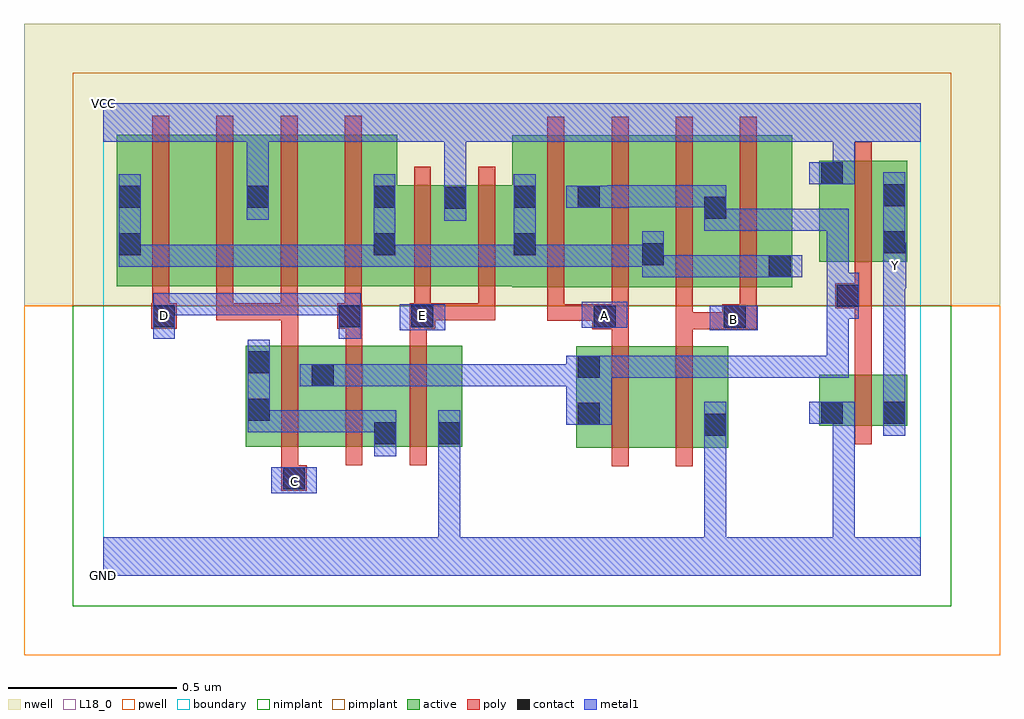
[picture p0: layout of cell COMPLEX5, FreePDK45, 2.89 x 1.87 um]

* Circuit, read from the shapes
.subckt COMPLEX5 A B C D E GND VCC Y
M1 n1 C n2 VSUBS nfet w=0.3u l=0.05u
M2 n2 D n1 VSUBS nfet w=0.3u l=0.05u
M3 GND E n2 VSUBS nfet w=0.3u l=0.05u
M4 n3 A n1 VSUBS nfet w=0.3u l=0.05u
M5 GND B n3 VSUBS nfet w=0.3u l=0.05u
M6 Y n1 GND VSUBS nfet w=0.15u l=0.05u
M7 n4 D n5 n6 pfet w=0.45u l=0.05u
M8 VCC C n4 n6 pfet w=0.45u l=0.05u
M9 n7 C VCC n6 pfet w=0.45u l=0.05u
M10 n5 D n7 n6 pfet w=0.45u l=0.05u
M11 VCC E n5 n6 pfet w=0.3u l=0.05u m=2
M12 n1 A n5 n6 pfet w=0.45u l=0.05u m=2
M13 n1 B n5 n6 pfet w=0.45u l=0.05u m=2
M14 Y n1 VCC n6 pfet w=0.3u l=0.05u
.ends

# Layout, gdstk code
import gdstk
lib = gdstk.Library(unit=1e-6, precision=1e-09)
def R(c, l, rs):  # rectangles x0, y0, x1, y1
    for r in rs: c.add(gdstk.rectangle(r[:2], r[2:], *l))
def A(c, l, x, y, w, h, nx, ny, dx, dy):  # array of equal rectangles
    R(c, l, [(x+i*dx, y+j*dy, x+i*dx+w, y+j*dy+h) for i in range(nx) for j in range(ny)])
active = (1, 0)
pwell = (2, 0)
nwell = (3, 0)
nimplant = (4, 0)
pimplant = (5, 0)
poly = (9, 0)
contact = (10, 0)
metal1 = (11, 0)
L18_0 = (18, 0)
boundary = (235, 0)

complex5 = lib.new_cell('COMPLEX5')
R(complex5, active, [(1.4,0.38,1.625,0.68), (1.625,0.38,1.85,0.68), (0.422,0.382,0.687,0.682), (0.612,0.382,0.872,0.682), (0.797,0.382,1.062,0.682), (0.797,0.382,0.872,0.547), (0.987,0.382,1.062,0.682), (1.4,0.382,1.475,0.68), (0.422,0.407,0.497,0.682), (1.775,0.407,1.85,0.547), (0.612,0.445,0.687,0.632), (2.12,0.445,2.195,0.595), (2.12,0.445,2.38,0.595), (2.305,0.445,2.38,0.595), (1.21,0.855,1.475,1.305), (1.4,0.855,1.665,1.305), (1.59,0.855,1.85,1.305), (1.775,0.855,2.04,1.305), (1.965,0.855,2.04,1.047), (0.04,0.857,0.265,1.307), (0.04,0.857,0.145,1.2), (0.265,0.857,0.495,1.307), (0.42,0.857,0.645,1.307), (0.42,0.857,0.495,1.305), (0.645,0.857,0.87,1.307), (0.795,0.857,0.87,1.2), (0.795,0.857,1.08,1.157), (1.005,0.857,1.285,1.157), (1.21,0.857,1.285,1.2), (1.4,0.857,1.475,1.2), (1.59,0.857,1.665,1.07), (1.775,0.857,1.85,1.2), (2.12,0.93,2.38,1.23), (2.305,0.93,2.38,1.19), (1.005,1.007,1.08,1.157), (2.12,1.007,2.195,1.23)])
R(complex5, pwell, [(-0.235,-0.235,2.655,0.8)])
R(complex5, nwell, [(-0.235,0.8,2.655,1.635)])
R(complex5, nimplant, [(-0.09,-0.09,2.51,0.8)])
R(complex5, pimplant, [(-0.09,0.8,2.51,1.49)])
A(complex5, poly, 0.527, 0.327, 0.05, 0.41, 3, 1, 0.19, 0)
A(complex5, poly, 0.145, 0.757, 0.05, 0.095, 4, 1, 0.19, 0)
A(complex5, poly, 1.315, 0.8, 0.05, 0.56, 4, 1, 0.19, 0)
A(complex5, poly, 0.145, 0.802, 0.05, 0.56, 4, 1, 0.19, 0)
R(complex5, poly, [(0.527,0.252,0.602,0.327), (0.527,0.277,0.577,0.377), (1.505,0.325,1.555,0.735), (1.695,0.325,1.745,0.735), (2.225,0.39,2.275,0.65), (2.225,0.6,2.275,0.842), (1.505,0.685,1.555,0.78), (1.695,0.685,1.745,0.78), (0.527,0.687,0.577,0.807), (0.717,0.687,0.767,0.782), (0.907,0.687,0.957,0.782), (1.447,0.73,1.555,0.805), (1.695,0.73,1.882,0.78), (1.695,0.73,1.745,0.78), (1.695,0.73,1.745,0.78), (1.695,0.73,1.745,0.78), (1.695,0.73,1.745,0.85), (1.832,0.73,1.935,0.805), (0.142,0.732,0.217,0.807), (0.692,0.732,0.767,0.807), (0.907,0.732,0.982,0.807), (1.315,0.755,1.365,0.85), (1.315,0.755,1.365,0.805), (1.315,0.755,1.365,0.805), (1.315,0.755,1.365,0.805), (1.315,0.755,1.497,0.805), (1.505,0.755,1.555,0.85), (1.885,0.755,1.935,0.85), (0.335,0.757,0.385,0.807), (0.335,0.757,0.385,0.807), (0.335,0.757,0.385,0.807), (0.335,0.757,0.575,0.807), (0.525,0.757,0.577,0.807), (0.92,0.757,0.97,0.852), (0.932,0.757,0.982,0.807), (0.932,0.757,0.982,0.807), (0.932,0.757,1.16,0.807), (1.11,0.757,1.16,0.852), (1.11,0.757,1.16,0.807), (2.167,0.792,2.275,0.867), (0.92,0.802,0.97,1.212), (1.11,0.802,1.16,1.212), (2.225,0.817,2.275,0.925), (2.225,0.875,2.275,1.285)])
R(complex5, contact, [(0.532,0.257,0.597,0.322), (0.802,0.39,0.867,0.455), (0.992,0.39,1.057,0.455), (1.78,0.415,1.845,0.48), (1.405,0.447,1.47,0.512), (2.125,0.45,2.19,0.515), (2.31,0.45,2.375,0.515), (0.427,0.46,0.492,0.525), (0.617,0.562,0.682,0.627), (1.405,0.587,1.47,0.652), (0.427,0.6,0.492,0.665), (1.452,0.735,1.517,0.8), (1.837,0.735,1.902,0.8), (0.147,0.737,0.212,0.802), (0.697,0.737,0.762,0.802), (0.912,0.737,0.977,0.802), (2.172,0.797,2.237,0.862), (1.97,0.885,2.035,0.95), (1.595,0.92,1.66,0.985), (0.045,0.95,0.11,1.015), (0.8,0.95,0.865,1.015), (1.215,0.95,1.28,1.015), (2.31,0.955,2.375,1.02), (1.78,1.057,1.845,1.122), (1.01,1.087,1.075,1.152), (0.045,1.09,0.11,1.155), (0.425,1.09,0.49,1.155), (0.8,1.09,0.865,1.155), (1.215,1.09,1.28,1.155), (1.405,1.09,1.47,1.155), (2.31,1.095,2.375,1.16), (2.125,1.16,2.19,1.225)])
R(complex5, metal1, [(0,0,2.42,0.115), (0.992,0.05,1.057,0.115), (0.992,0.05,1.057,0.115), (0.992,0.05,1.057,0.115), (0.992,0.05,1.057,0.115), (0.992,0.05,1.057,0.115), (0.992,0.05,1.057,0.115), (0.992,0.05,1.057,0.42), (1.78,0.05,1.845,0.115), (1.78,0.05,1.845,0.115), (1.78,0.05,1.845,0.445), (2.16,0.05,2.225,0.515), (0.497,0.245,0.632,0.322), (0.802,0.355,0.867,0.49), (0.992,0.355,1.057,0.49), (1.78,0.38,1.845,0.445), (1.78,0.38,1.845,0.445), (1.78,0.38,1.845,0.445), (1.78,0.38,1.845,0.445), (1.78,0.38,1.845,0.515), (2.31,0.415,2.375,0.55), (0.427,0.425,0.492,0.7), (0.427,0.425,0.522,0.49), (0.457,0.425,0.522,0.49), (0.457,0.425,0.727,0.49), (0.662,0.425,0.727,0.49), (0.662,0.425,0.727,0.49), (0.662,0.425,0.727,0.49), (0.662,0.425,0.867,0.49), (1.37,0.447,1.505,0.652), (2.09,0.45,2.225,0.515), (2.16,0.45,2.225,0.515), (2.16,0.45,2.225,0.515), (2.16,0.45,2.225,0.515), (2.16,0.45,2.225,0.515), (2.16,0.45,2.225,0.515), (2.16,0.45,2.225,0.515), (2.16,0.45,2.225,0.515), (2.16,0.45,2.225,0.515), (2.31,0.485,2.375,0.917), (0.582,0.562,0.717,0.627), (0.652,0.562,0.717,0.627), (0.652,0.562,0.717,0.627), (0.652,0.562,0.865,0.627), (0.8,0.562,0.865,0.627), (0.8,0.562,0.865,0.627), (0.8,0.562,0.865,0.627), (0.8,0.562,1.005,0.627), (0.94,0.562,1.005,0.627), (0.94,0.562,1.005,0.627), (0.94,0.562,1.005,0.627), (0.94,0.562,1.142,0.627), (1.077,0.562,1.142,0.627), (1.077,0.562,1.345,0.627), (1.28,0.562,1.345,0.627), (1.28,0.562,1.435,0.627), (1.44,0.587,1.505,0.652), (1.44,0.587,1.505,0.652), (1.44,0.587,1.642,0.652), (1.577,0.587,1.642,0.652), (1.577,0.587,1.695,0.652), (1.63,0.587,1.695,0.652), (1.63,0.587,1.845,0.652), (1.78,0.587,1.845,0.652), (1.78,0.587,2.017,0.652), (1.952,0.587,2.017,0.652), (1.952,0.587,2.087,0.652), (2.022,0.587,2.087,0.652), (2.022,0.587,2.207,0.652), (2.142,0.587,2.207,0.652), (2.142,0.587,2.207,0.85), (0.147,0.702,0.212,0.837), (0.697,0.702,0.762,0.837), (0.877,0.727,1.012,0.805), (1.795,0.727,1.937,0.8), (1.417,0.735,1.552,0.812), (2.172,0.762,2.237,0.897), (0.147,0.772,0.247,0.837), (0.182,0.772,0.247,0.837), (0.182,0.772,0.385,0.837), (0.32,0.772,0.385,0.837), (0.32,0.772,0.385,0.837), (0.32,0.772,0.385,0.837), (0.32,0.772,0.522,0.837), (0.457,0.772,0.522,0.837), (0.457,0.772,0.63,0.837), (0.565,0.772,0.63,0.837), (0.565,0.772,0.762,0.837), (2.142,0.785,2.207,0.85), (2.142,0.785,2.207,0.85), (2.142,0.785,2.207,0.85), (2.142,0.785,2.237,0.85), (2.142,0.785,2.207,1.087), (2.31,0.852,2.377,0.987), (1.595,0.885,1.66,1.02), (1.595,0.885,1.707,0.95), (1.642,0.885,1.707,0.95), (1.642,0.885,1.845,0.95), (1.78,0.885,1.845,0.95), (1.78,0.885,2,0.95), (1.935,0.885,2,0.95), (1.935,0.885,2,0.95), (1.935,0.885,2.07,0.95), (0.045,0.915,0.11,0.98), (0.045,0.915,0.11,0.98), (0.045,0.915,0.11,1.19), (0.045,0.915,0.247,0.98), (0.182,0.915,0.247,0.98), (0.182,0.915,0.385,0.98), (0.32,0.915,0.385,0.98), (0.32,0.915,0.385,0.98), (0.32,0.915,0.385,0.98), (0.32,0.915,0.522,0.98), (0.457,0.915,0.522,0.98), (0.457,0.915,0.66,0.98), (0.595,0.915,0.66,0.98), (0.595,0.915,0.66,0.98), (0.595,0.915,0.66,0.98), (0.595,0.915,0.865,0.98), (0.8,0.915,0.865,1.19), (0.8,0.915,0.867,0.98), (0.802,0.915,0.867,0.98), (0.802,0.915,1.005,0.98), (0.94,0.915,1.005,0.98), (0.94,0.915,1.005,0.98), (0.94,0.915,1.005,0.98), (0.94,0.915,1.28,0.98), (1.215,0.915,1.28,0.98), (1.215,0.915,1.28,0.98), (1.215,0.915,1.28,1.19), (1.215,0.915,1.482,0.98), (1.417,0.915,1.482,0.98), (1.417,0.915,1.482,0.98), (1.417,0.915,1.482,0.98), (1.417,0.915,1.66,0.98), (2.31,0.92,2.375,0.985), (2.31,0.92,2.375,1.195), (1.78,1.022,1.845,1.157), (1.78,1.022,1.982,1.087), (1.917,1.022,1.982,1.087), (1.917,1.022,1.982,1.087), (1.917,1.022,1.982,1.087), (1.917,1.022,2.207,1.087), (2.142,1.022,2.207,1.087), (1.01,1.052,1.075,1.187), (0.425,1.055,0.49,1.19), (1.37,1.09,1.505,1.155), (1.44,1.09,1.557,1.155), (1.492,1.09,1.557,1.157), (1.492,1.092,1.642,1.157), (1.577,1.092,1.642,1.157), (1.577,1.092,1.72,1.157), (1.655,1.092,1.72,1.157), (1.655,1.092,1.845,1.157), (1.01,1.122,1.075,1.187), (1.01,1.122,1.075,1.187), (1.01,1.122,1.075,1.35), (0.425,1.125,0.49,1.35), (2.09,1.16,2.225,1.225), (2.16,1.16,2.225,1.35), (0,1.285,2.42,1.4), (2.16,1.285,2.225,1.35), (2.16,1.285,2.225,1.35)])
R(complex5, L18_0, [(0,0,2.42,0.115), (0.992,0.05,1.057,0.115), (0.992,0.05,1.057,0.115), (0.992,0.05,1.057,0.115), (0.992,0.05,1.057,0.115), (0.992,0.05,1.057,0.115), (0.992,0.05,1.057,0.115), (0.992,0.05,1.057,0.42), (1.78,0.05,1.845,0.115), (1.78,0.05,1.845,0.115), (1.78,0.05,1.845,0.445), (2.16,0.05,2.225,0.515), (0.497,0.245,0.632,0.322), (0.532,0.247,0.597,0.312), (0.992,0.355,1.057,0.49), (1.78,0.38,1.845,0.515), (1.78,0.38,1.845,0.445), (1.78,0.38,1.845,0.445), (1.78,0.38,1.845,0.445), (1.78,0.38,1.845,0.445), (2.31,0.415,2.375,0.55), (2.09,0.45,2.225,0.515), (2.16,0.45,2.225,0.515), (2.16,0.45,2.225,0.515), (2.16,0.45,2.225,0.515), (2.16,0.45,2.225,0.515), (2.16,0.45,2.225,0.515), (2.16,0.45,2.225,0.515), (2.16,0.45,2.225,0.515), (2.16,0.45,2.225,0.515), (2.31,0.485,2.375,0.917), (0.147,0.702,0.212,0.837), (0.697,0.702,0.762,0.837), (0.877,0.727,1.012,0.805), (1.795,0.727,1.937,0.8), (1.832,0.727,1.897,0.792), (1.417,0.735,1.552,0.812), (0.147,0.737,0.212,0.802), (0.912,0.737,0.977,0.802), (1.452,0.737,1.517,0.802), (0.147,0.772,0.247,0.837), (0.182,0.772,0.247,0.837), (0.182,0.772,0.385,0.837), (0.32,0.772,0.385,0.837), (0.32,0.772,0.385,0.837), (0.32,0.772,0.385,0.837), (0.32,0.772,0.522,0.837), (0.457,0.772,0.522,0.837), (0.457,0.772,0.63,0.837), (0.565,0.772,0.63,0.837), (0.565,0.772,0.762,0.837), (2.31,0.852,2.377,0.987), (2.312,0.887,2.377,0.952), (2.31,0.92,2.375,0.985), (2.31,0.92,2.375,1.195), (1.01,1.052,1.075,1.187), (0.425,1.055,0.49,1.19), (1.01,1.122,1.075,1.187), (1.01,1.122,1.075,1.187), (1.01,1.122,1.075,1.35), (0.425,1.125,0.49,1.35), (2.09,1.16,2.225,1.225), (2.16,1.16,2.225,1.35), (0,1.285,2.42,1.4), (2.16,1.285,2.225,1.35), (2.16,1.285,2.225,1.35)])
R(complex5, boundary, [(0,0,2.42,1.4)])
complex5.add(gdstk.Label('A', (1.485,0.77), layer=11, texttype=0))
complex5.add(gdstk.Label('B', (1.865,0.76), layer=11, texttype=0))
complex5.add(gdstk.Label('C', (0.565,0.28), layer=11, texttype=0))
complex5.add(gdstk.Label('D', (0.18,0.77), layer=11, texttype=0))
complex5.add(gdstk.Label('E', (0.945,0.77), layer=11, texttype=0))
complex5.add(gdstk.Label('Y', (2.345,0.92), layer=11, texttype=0))
complex5.add(gdstk.Label('VCC', (0,1.4), layer=11, texttype=0))
complex5.add(gdstk.Label('GND', (0,0), layer=11, texttype=0))

lib.write_gds('COMPLEX5.gds')
